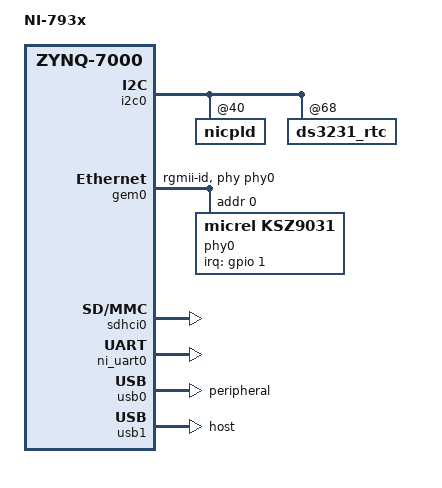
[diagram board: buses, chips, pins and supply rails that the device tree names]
/dts-v1/;
/include/ "ni-zynq.dtsi"

/* NIDEVCODE 77AC */
/* NIDEVCODE 77B2 */
/* NIDEVCODE 77B1 */

/ {
	model = "NI-793x";
	compatible = "ni,zynq", "xlnx,zynq-7000";

	amba@0 {

		leds-ni793x@4020F000 {
			compatible = "ni,led-793x";
			reg = <0x4020F000 4>;
			user1 {
				label = "nilrt:user1:green";
			};
		};

		i2c0: i2c@e0004000 {
			nicpld@40 {
				watchdogs {
					boot-watchdog {
						interrupt-parent = <&gpio>;
						interrupts = <15 2 /* IRQ_TYPE_EDGE_FALLING */>;
					};
				};

				leds {
					status-0 {
						label = "nilrt:status:yellow";
						max-brightness = <0xFFFF>;
					};
					eth0-0 {
						label = "nilrt:eth0:green";
						linux,default-trigger =
						  "e000b000.etherne:00:100Mb";
					};
					eth0-1 {
						label = "nilrt:eth0:yellow";
						linux,default-trigger =
						  "e000b000.etherne:00:Gb";
					};
				};
			};

			ds3231_rtc@68 {
				status = "okay";
			};
		};
	};
};

&gem0 {
	status = "okay";

	/* No fpga_clk specified because we want our FPGA clock
	 * (fclk0) to always be 125 MHz. The bootloader sets
	 * fclk0 to 125 MHz and we just leave it like that. */

	phy-handle = <&phy0>;
	phy-mode = "rgmii-id";
	#address-cells = <0x1>;
	#size-cells = <0x0>;

	emio-speed-gpios = <0>,
			   <&gpio 54 0>;

	phy0: phy@0 {
		compatible = "micrel,KSZ9031";
		device_type = "ethernet-phy";
		reg = <0x0>;
		/* Interrupt on GPIO1. */
		interrupts = <1 8 /* IRQ_TYPE_LEVEL_LOW */>;
		interrupt-parent = <&gpio>;

		/* Set RX_CLK Pad Skew [4:0] to 0b00000. */
		rxc-skew-ps = <0>;
	};
};

&sdhci0 {
	status = "okay";
};

&ni_uart0 {
	status = "okay";
	transceiver = "RS-232";
};

&usb0 {
	status = "okay";
	dr_mode = "peripheral";
};

&usb1 {
	status = "okay";
	dr_mode = "host";
};

&clkc {
	/* Enable fclk0 for eth0 and eth1, fclk1 for serial. */
	fclk-enable = <0x3>;
};
